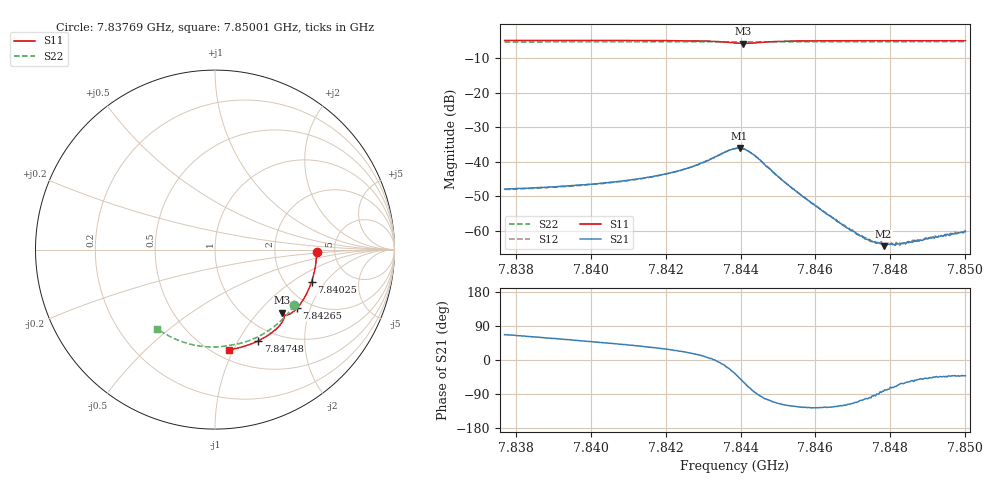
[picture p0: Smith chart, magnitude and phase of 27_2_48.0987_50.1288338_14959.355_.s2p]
#  HZ  S  RI  R  50.00
! Rohde & Schwarz Vector Network Analyzer
! Rohde-Schwarz,ZNB20-2Port,1311601062101988,3.16
! Created: UTC 12/23/2023, 3:37:17 AM
! freq[Hz]  re:S11  im:S11  re:S21  im:S21  re:S12  im:S12  re:S22  im:S22
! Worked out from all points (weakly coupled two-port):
!   401 points, 7.83769 GHz to 7.85001 GHz, reference 50 ohm
!   highest |S21| = -36.02 dB at 7.84397 GHz (marker M1); lowest = -64.4 dB at 7.84782 GHz (marker M2)
!   lowest |S11| = -5.8 dB at 7.84406 GHz (marker M3), VSWR 3.10, Z = 71.4 - j68 ohm
!   |S11| at or under -10 dB: nowhere
!   |S22| runs from -5.4 to -5.3 dB; largest |S21 - S12| = 0.00029
!   S11 on the Smith chart (normalised r, x): 7.83769 GHz: 3.61, -0.12; 7.84025 GHz: 2.76, -1.46; 7.84265 GHz: 1.70, -1.63; 7.84748 GHz: 0.82, -1.22; 7.85001 GHz: 0.59, -0.96
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7.837689e9  0.5666 -0.0111  0.00158 0.00371  0.00157 0.00364  0.4412 -0.3112
7.839753e9  0.5477 -0.1473  0.00297 0.00358  0.0029 0.00354  0.3435 -0.4176
7.840245e9  0.5381 -0.179  0.00336 0.00355  0.00331 0.00349  0.3163 -0.4387
7.841816e9  0.4928 -0.2772  0.00546 0.00328  0.00542 0.00327  0.2211 -0.4941
7.842648e9  0.4568 -0.3266  0.00788 0.00263  0.00786 0.00265  0.1665 -0.5153
7.843387e9  0.4095 -0.3621  0.0124 -0.000962  0.0122 -0.000875  0.1159 -0.5282
7.843849e9  0.3756 -0.3599  0.0125 -0.00907  0.0126 -0.00919  0.0851 -0.5324
7.843972e9  0.3725 -0.3545  0.0106 -0.0117  0.0107 -0.0116  0.0773 -0.5333
7.844065e9  0.3731 -0.3513  0.00834 -0.013  0.00853 -0.0129  0.0716 -0.5341
7.844188e9  0.3768 -0.3501  0.00515 -0.0135  0.0053 -0.0135  0.0638 -0.5354
7.844404e9  0.3844 -0.3579  0.000691 -0.0119  0.000833 -0.0119  0.0498 -0.5381
7.845112e9  0.3722 -0.407  -0.00248 -0.00481  -0.00245 -0.0049  0.000326 -0.5429
7.845913e9  0.3323 -0.4501  -0.00148 -0.00203  -0.00146 -0.002  -0.0563 -0.5408
7.846868e9  0.2781 -0.4887  -0.000498 -0.000971  -0.000524 -0.000991  -0.1228 -0.5305
7.84733e9  0.2505 -0.5039  -0.000166 -0.000742  -0.000175 -0.000782  -0.1544 -0.5223
7.847484e9  0.2412 -0.5085  -0.000121 -0.000709  -9.66e-05 -0.000698  -0.1646 -0.5191
7.847823e9  0.2204 -0.5181  8.12e-05 -0.000597  8.4e-05 -0.000626  -0.1873 -0.5118
7.847977e9  0.2109 -0.5221  0.000147 -0.000622  0.000164 -0.000606  -0.1973 -0.5081
7.848285e9  0.1914 -0.5295  0.00031 -0.000582  0.0003 -0.000581  -0.2175 -0.5
7.848593e9  0.1719 -0.5362  0.000402 -0.000552  0.000398 -0.000618  -0.237 -0.4911
7.848747e9  0.1622 -0.5392  0.000439 -0.000556  0.000455 -0.000594  -0.2468 -0.4864
7.85001e9  0.0797 -0.5568  0.000733 -0.000649  0.000775 -0.000682  -0.3227 -0.4407
